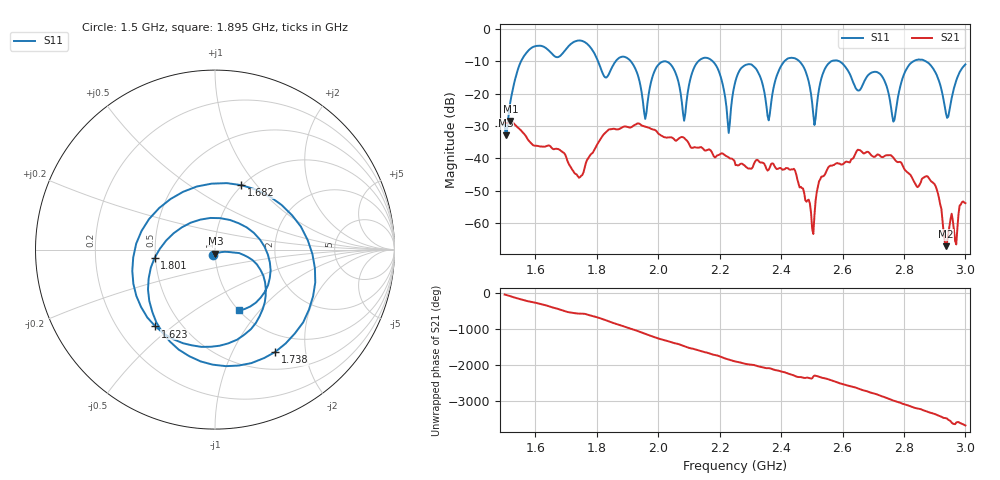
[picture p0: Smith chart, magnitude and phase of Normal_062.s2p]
# HZ S RI R 50
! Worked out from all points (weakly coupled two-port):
!   404 points, 1.5 GHz to 3 GHz, reference 50 ohm
!   highest |S21| = -28.47 dB at 1.519 GHz (marker M1); lowest = -67.2 dB at 2.937 GHz (marker M2)
!   lowest |S11| = -32.9 dB at 1.504 GHz (marker M3), VSWR 1.05, Z = 50.1 - j2.26 ohm
!   |S11| at or under -10 dB: 1.911 GHz to 2.131 GHz (220 MHz wide, 10.9 % of centre); 2.177 GHz to 2.411 GHz (233.3 MHz wide, 10.2 % of centre); 2.59 GHz to 2.831 GHz (241.1 MHz wide, 8.9 % of centre) (the widest 3 of 7)
!   S12 and S22 are empty: the file has one direction only
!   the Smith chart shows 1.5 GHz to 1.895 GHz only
!   S11 on the Smith chart (normalised r, x): 1.5 GHz: 0.97, -0.06; 1.623 GHz: 0.36, -0.44; 1.682 GHz: 0.99, +0.84; 1.738 GHz: 0.73, -1.49; 1.801 GHz: 0.50, -0.05; 1.895 GHz: 1.00, -0.78
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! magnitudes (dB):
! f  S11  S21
! 1.5 GHz  -29.7  -29.0
! 1.504 GHz  -32.9  -29.1
! 1.519 GHz  -22.6  -28.5
! 1.623 GHz  -5.3  -36.4
! 1.682 GHz  -8.2  -37.6
! 1.738 GHz  -3.6  -45.5
! 1.753 GHz  -3.7  -45.2
! 1.801 GHz  -9.4  -35.7
! 1.895 GHz  -8.8  -30.2
! 1.958 GHz  -27.8  -30.2
! 2.002 GHz  -10.9  -32.6
! 2.084 GHz  -28.4  -33.7
! 2.14 GHz  -9.3  -36.6
! 2.252 GHz  -16.0  -42.1
! 2.36 GHz  -28.3  -43.5
! 2.442 GHz  -9.0  -43.3
! 2.501 GHz  -22.9  -61.9
! 2.572 GHz  -9.8  -42.1
! 2.751 GHz  -20.2  -39.0
! 2.862 GHz  -9.6  -46.1
! 2.937 GHz  -26.1  -67.2
! 3 GHz  -11.0  -53.9
